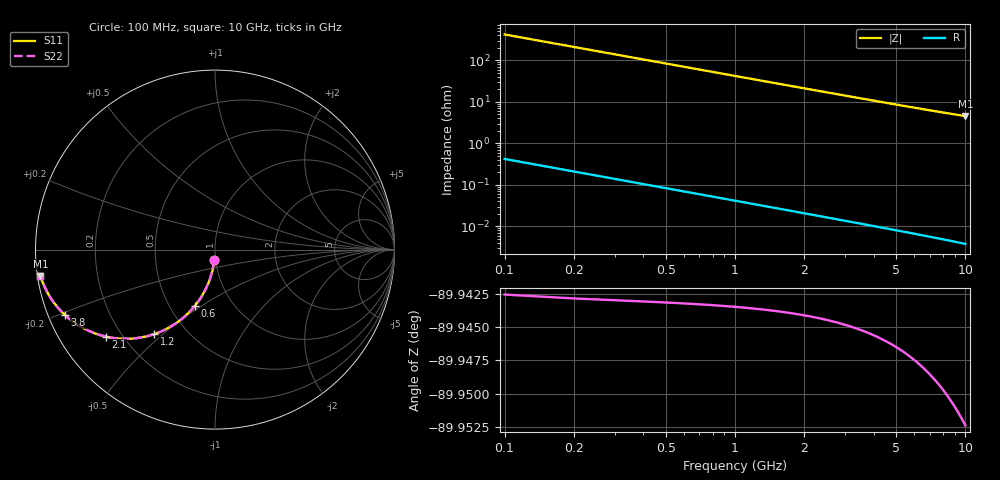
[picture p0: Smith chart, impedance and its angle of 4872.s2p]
# Hz S RI R 50.00
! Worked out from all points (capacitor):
!   100 points, 100 MHz to 10 GHz, reference 50 ohm
!   read as one part in shunt: C = 3.79 pF near 100 MHz
!   lowest |Z| = 4.54 ohm at 10 GHz (marker M1)
!   S11 on the Smith chart (normalised r, x): 100 MHz: 0.99, -0.12; 600 MHz: 0.66, -0.47; 1.2 GHz: 0.33, -0.47; 2.1 GHz: 0.14, -0.34; 3.8 GHz: 0.05, -0.21; 10 GHz: 0.01, -0.07
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1e8  -0.00357 -0.0592  0.9964 -0.0594  0.9964 -0.0594  -0.00357 -0.0592
2e8  -0.0141 -0.117  0.9859 -0.1176  0.9859 -0.1176  -0.0141 -0.117
3e8  -0.031 -0.1725  0.9689 -0.1733  0.9689 -0.1733  -0.031 -0.1725
4e8  -0.0538 -0.2245  0.9462 -0.2257  0.9462 -0.2257  -0.0538 -0.2245
5e8  -0.0815 -0.2724  0.9185 -0.2738  0.9185 -0.2738  -0.0815 -0.2724
6e8  -0.1132 -0.3155  0.8868 -0.3172  0.8868 -0.3172  -0.1132 -0.3155
7e8  -0.1479 -0.3535  0.8521 -0.3555  0.8521 -0.3555  -0.1479 -0.3535
9e8  -0.2227 -0.4143  0.7772 -0.4169  0.7772 -0.4169  -0.2227 -0.4143
1.2e9  -0.3371 -0.4705  0.6628 -0.4739  0.6628 -0.4739  -0.3371 -0.4705
1.5e9  -0.4424 -0.494  0.5575 -0.4983  0.5575 -0.4983  -0.4424 -0.494
1.8e9  -0.5329 -0.4958  0.467 -0.501  0.467 -0.501  -0.5329 -0.4958
2.1e9  -0.608 -0.4847  0.3919 -0.4907  0.3919 -0.4907  -0.608 -0.4847
2.4e9  -0.6693 -0.4665  0.3307 -0.4734  0.3307 -0.4734  -0.6693 -0.4665
2.7e9  -0.719 -0.4451  0.2809 -0.4529  0.2809 -0.4529  -0.719 -0.4451
3e9  -0.7594 -0.4226  0.2405 -0.4313  0.2405 -0.4313  -0.7594 -0.4226
3.4e9  -0.802 -0.393  0.1979 -0.4029  0.1979 -0.4029  -0.802 -0.393
3.8e9  -0.8349 -0.3652  0.165 -0.3763  0.165 -0.3763  -0.8349 -0.3652
4.4e9  -0.8714 -0.3278  0.1285 -0.3406  0.1285 -0.3406  -0.8714 -0.3278
5.1e9  -0.901 -0.2905  0.0988 -0.3055  0.0988 -0.3055  -0.901 -0.2905
6.7e9  -0.9403 -0.2261  0.0594 -0.2462  0.0594 -0.2462  -0.9403 -0.2261
8.4e9  -0.9614 -0.1789  0.0382 -0.2043  0.0382 -0.2043  -0.9614 -0.1789
1e10  -0.9727 -0.1463  0.0268 -0.1771  0.0268 -0.1771  -0.9727 -0.1463
